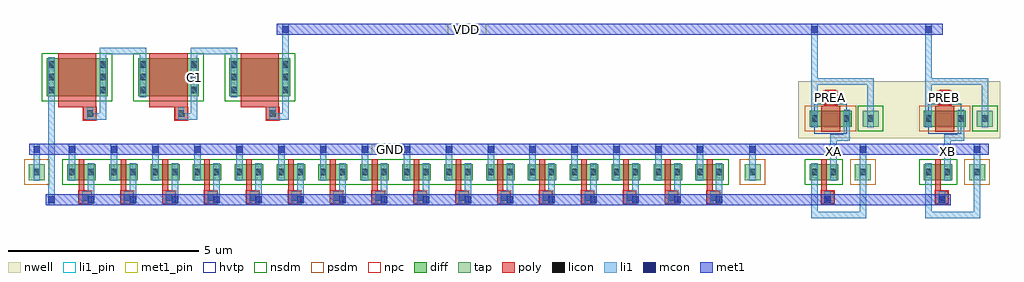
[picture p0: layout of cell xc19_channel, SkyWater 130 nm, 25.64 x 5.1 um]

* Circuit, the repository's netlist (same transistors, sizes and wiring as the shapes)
* NGSPICE file created from xc19_channel.ext - technology: sky130A

.subckt xc19_channel VDD GND C1 PREA XA PREB XB
X0 XB PREB VDD VDD sky130_fd_pr__pfet_01v8_hvt ad=0.126 pd=1.44 as=0.126 ps=1.44 w=0.42 l=0.5
X1 a_n108_440# a_n108_440# GND GND sky130_fd_pr__nfet_01v8 ad=0.126 pd=1.44 as=0.126 ps=1.44 w=0.42 l=0.15
X2 XA PREA VDD VDD sky130_fd_pr__pfet_01v8_hvt ad=0.126 pd=1.44 as=0.126 ps=1.44 w=0.42 l=0.5
X3 a_n108_440# a_n108_440# GND GND sky130_fd_pr__nfet_01v8 ad=0.126 pd=1.44 as=0.126 ps=1.44 w=0.42 l=0.15
X4 a_n108_440# a_n108_440# GND GND sky130_fd_pr__nfet_01v8 ad=0.126 pd=1.44 as=0.126 ps=1.44 w=0.42 l=0.15
X5 a_n108_440# a_n108_440# GND GND sky130_fd_pr__nfet_01v8 ad=0.126 pd=1.44 as=0.126 ps=1.44 w=0.42 l=0.15
X6 a_n108_440# a_n108_440# GND GND sky130_fd_pr__nfet_01v8 ad=0.126 pd=1.44 as=0.126 ps=1.44 w=0.42 l=0.15
X7 a_n108_440# a_n108_440# GND GND sky130_fd_pr__nfet_01v8 ad=0.126 pd=1.44 as=0.126 ps=1.44 w=0.42 l=0.15
X8 a_n108_440# a_n108_440# GND GND sky130_fd_pr__nfet_01v8 ad=0.126 pd=1.44 as=0.126 ps=1.44 w=0.42 l=0.15
X9 XA a_n108_440# GND GND sky130_fd_pr__nfet_01v8 ad=0.126 pd=1.44 as=0.126 ps=1.44 w=0.42 l=0.15
X10 XB a_n108_440# GND GND sky130_fd_pr__nfet_01v8 ad=0.126 pd=1.44 as=0.126 ps=1.44 w=0.42 l=0.15
X11 a_n108_440# a_n108_440# GND GND sky130_fd_pr__nfet_01v8 ad=0.126 pd=1.44 as=0.126 ps=1.44 w=0.42 l=0.15
X12 a_n108_440# a_n108_440# GND GND sky130_fd_pr__nfet_01v8 ad=0.126 pd=1.44 as=0.126 ps=1.44 w=0.42 l=0.15
X13 a_n108_440# a_n108_440# GND GND sky130_fd_pr__nfet_01v8 ad=0.126 pd=1.44 as=0.126 ps=1.44 w=0.42 l=0.15
X14 a_n108_440# a_n108_440# GND GND sky130_fd_pr__nfet_01v8 ad=0.126 pd=1.44 as=0.126 ps=1.44 w=0.42 l=0.15
X15 a_n48_382# a_n48_382# a_n108_440# GND sky130_fd_pr__nfet_01v8 ad=0.3 pd=2.6 as=0.3 ps=2.6 w=1 l=1
X16 a_n108_440# a_n108_440# GND GND sky130_fd_pr__nfet_01v8 ad=0.126 pd=1.44 as=0.126 ps=1.44 w=0.42 l=0.15
X17 a_n108_440# a_n108_440# GND GND sky130_fd_pr__nfet_01v8 ad=0.126 pd=1.44 as=0.126 ps=1.44 w=0.42 l=0.15
X18 a_n108_440# a_n108_440# GND GND sky130_fd_pr__nfet_01v8 ad=0.126 pd=1.44 as=0.126 ps=1.44 w=0.42 l=0.15
X19 C1 C1 a_n48_382# GND sky130_fd_pr__nfet_01v8 ad=0.3 pd=2.6 as=0.3 ps=2.6 w=1 l=1
X20 a_n108_440# a_n108_440# GND GND sky130_fd_pr__nfet_01v8 ad=0.126 pd=1.44 as=0.126 ps=1.44 w=0.42 l=0.15
X21 VDD VDD C1 GND sky130_fd_pr__nfet_01v8 ad=0.3 pd=2.6 as=0.3 ps=2.6 w=1 l=1
X22 a_n108_440# a_n108_440# GND GND sky130_fd_pr__nfet_01v8 ad=0.126 pd=1.44 as=0.126 ps=1.44 w=0.42 l=0.15
.ends

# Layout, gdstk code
import gdstk
lib = gdstk.Library(unit=1e-6, precision=1e-09)
def R(c, l, rs):  # rectangles x0, y0, x1, y1
    for r in rs: c.add(gdstk.rectangle(r[:2], r[2:], *l))
def A(c, l, x, y, w, h, nx, ny, dx, dy):  # array of equal rectangles
    R(c, l, [(x+i*dx, y+j*dy, x+i*dx+w, y+j*dy+h) for i in range(nx) for j in range(ny)])
nwell = (64, 20)
diff = (65, 20)
tap = (65, 44)
poly = (66, 20)
licon = (66, 44)
li1_pin = (67, 16)
li1 = (67, 20)
mcon = (67, 44)
met1_pin = (68, 16)
met1 = (68, 20)
hvtp = (78, 44)
nsdm = (93, 44)
psdm = (94, 20)
npc = (95, 20)

xc19_channel = lib.new_cell('xc19_channel')
R(xc19_channel, nwell, [(19.2,1.1,24.5,2.6)])
A(xc19_channel, diff, 0, 0, 0.75, 0.42, 16, 1, 1.1, 0)
A(xc19_channel, diff, -0.54, 2.2, 1.6, 1, 3, 1, 2.4, 0)
R(xc19_channel, diff, [(19.5,0,20.25,0.42), (22.5,0,23.25,0.42), (19.5,1.4,20.6,1.82), (22.5,1.4,23.6,1.82)])
R(xc19_channel, tap, [(-1.01,0,-0.59,0.42), (17.79,0,18.21,0.42), (20.69,0,21.11,0.42), (23.69,0,24.11,0.42), (20.89,1.4,21.31,1.82), (23.89,1.4,24.31,1.82)])
A(xc19_channel, poly, 0.3, -0.62, 0.34, 0.33, 16, 1, 1.1, 0)
A(xc19_channel, poly, 0.3, -0.29, 0.15, 0.84, 16, 1, 1.1, 0)
A(xc19_channel, poly, 0.42, 1.58, 0.34, 0.33, 3, 1, 2.4, 0)
A(xc19_channel, poly, -0.24, 1.91, 1, 1.42, 3, 1, 2.4, 0)
R(xc19_channel, poly, [(19.8,-0.62,20.14,-0.29), (22.8,-0.62,23.14,-0.29), (19.8,-0.29,19.95,0.55), (22.8,-0.29,22.95,0.55), (19.8,1.27,20.3,1.95), (22.8,1.27,23.3,1.95), (19.915,1.95,20.185,2.37), (22.915,1.95,23.185,2.37)])
A(xc19_channel, licon, 0.39, -0.54, 0.17, 0.17, 16, 1, 1.1, 0)
A(xc19_channel, licon, 0.51, 1.66, 0.17, 0.17, 3, 1, 2.4, 0)
A(xc19_channel, licon, -0.5, 2.275, 0.17, 0.17, 1, 3, 0, 0.34)
A(xc19_channel, licon, 0.85, 2.275, 0.17, 0.17, 1, 3, 0, 0.34)
A(xc19_channel, licon, 1.9, 2.275, 0.17, 0.17, 1, 3, 0, 0.34)
A(xc19_channel, licon, 3.25, 2.275, 0.17, 0.17, 1, 3, 0, 0.34)
A(xc19_channel, licon, 4.3, 2.275, 0.17, 0.17, 1, 3, 0, 0.34)
A(xc19_channel, licon, 5.65, 2.275, 0.17, 0.17, 1, 3, 0, 0.34)
R(xc19_channel, licon, [(19.89,-0.54,20.06,-0.37), (22.89,-0.54,23.06,-0.37), (-0.885,0.125,-0.715,0.295), (0.04,0.125,0.21,0.295), (0.54,0.125,0.71,0.295), (1.14,0.125,1.31,0.295), (1.64,0.125,1.81,0.295), (2.24,0.125,2.41,0.295), (2.74,0.125,2.91,0.295), (3.34,0.125,3.51,0.295), (3.84,0.125,4.01,0.295), (4.44,0.125,4.61,0.295), (4.94,0.125,5.11,0.295), (5.54,0.125,5.71,0.295), (6.04,0.125,6.21,0.295), (6.64,0.125,6.81,0.295), (7.14,0.125,7.31,0.295), (7.74,0.125,7.91,0.295), (8.24,0.125,8.41,0.295), (8.84,0.125,9.01,0.295), (9.34,0.125,9.51,0.295), (9.94,0.125,10.11,0.295), (10.44,0.125,10.61,0.295), (11.04,0.125,11.21,0.295), (11.54,0.125,11.71,0.295), (12.14,0.125,12.31,0.295), (12.64,0.125,12.81,0.295), (13.24,0.125,13.41,0.295), (13.74,0.125,13.91,0.295), (14.34,0.125,14.51,0.295), (14.84,0.125,15.01,0.295), (15.44,0.125,15.61,0.295), (15.94,0.125,16.11,0.295), (16.54,0.125,16.71,0.295), (17.04,0.125,17.21,0.295), (17.915,0.125,18.085,0.295), (19.54,0.125,19.71,0.295), (20.04,0.125,20.21,0.295), (20.815,0.125,20.985,0.295), (22.54,0.125,22.71,0.295), (23.04,0.125,23.21,0.295), (23.815,0.125,23.985,0.295), (19.54,1.525,19.71,1.695), (20.39,1.525,20.56,1.695), (21.015,1.525,21.185,1.695), (22.54,1.525,22.71,1.695), (23.39,1.525,23.56,1.695), (24.015,1.525,24.185,1.695), (19.965,2.07,20.135,2.24), (22.965,2.07,23.135,2.24)])
R(xc19_channel, li1_pin, [(20.04,0.6,20.21,0.9), (23.04,0.6,23.21,0.9), (19.965,1.99,20.135,2.32), (22.965,1.99,23.135,2.32), (3.25,2.4,3.42,3)])
A(xc19_channel, li1, 0.39, -0.62, 0.32, 0.33, 16, 1, 1.1, 0)
A(xc19_channel, li1, 0.54, -0.29, 0.17, 0.73, 16, 1, 1.1, 0)
A(xc19_channel, li1, 0.04, -0.02, 0.17, 0.97, 16, 1, 1.1, 0)
A(xc19_channel, li1, 0.51, 1.58, 0.51, 0.17, 3, 1, 2.4, 0)
A(xc19_channel, li1, 0.51, 1.75, 0.17, 0.16, 3, 1, 2.4, 0)
R(xc19_channel, li1, [(19.54,-1,20.985,-0.83), (22.54,-1,23.985,-0.83), (19.54,-0.83,19.71,0.44), (20.815,-0.83,20.985,0.95), (22.54,-0.83,22.71,0.44), (23.815,-0.83,23.985,0.95), (-0.5,-0.62,-0.33,3.22), (19.89,-0.62,20.06,-0.29), (22.89,-0.62,23.06,-0.29), (-0.885,-0.02,-0.715,0.95), (17.915,-0.02,18.085,0.95), (20.04,-0.02,20.21,1.03), (23.04,-0.02,23.21,1.03), (20.04,1.03,20.56,1.2), (23.04,1.03,23.56,1.2), (20.39,1.2,20.56,1.84), (23.39,1.2,23.56,1.84), (19.54,1.38,19.71,2.5), (21.015,1.38,21.185,2.5), (22.54,1.38,22.71,2.5), (24.015,1.38,24.185,2.5), (0.85,1.75,1.02,3.3), (3.25,1.75,3.42,3.3), (5.65,1.75,5.82,4.1), (19.965,1.99,20.135,2.32), (22.965,1.99,23.135,2.32), (1.9,2.18,2.07,3.3), (4.3,2.18,4.47,3.3), (19.54,2.5,21.185,2.67), (22.54,2.5,24.185,2.67), (19.54,2.67,19.71,4.1), (22.54,2.67,22.71,4.1), (0.85,3.3,2.07,3.47), (3.25,3.3,4.47,3.47)])
A(xc19_channel, mcon, 0.54, -0.6, 0.17, 0.17, 16, 1, 1.1, 0)
A(xc19_channel, mcon, 0.04, 0.72, 0.17, 0.17, 16, 1, 1.1, 0)
R(xc19_channel, mcon, [(-0.5,-0.6,-0.33,-0.43), (19.89,-0.6,20.06,-0.43), (22.89,-0.6,23.06,-0.43), (-0.885,0.72,-0.715,0.89), (17.915,0.72,18.085,0.89), (20.815,0.72,20.985,0.89), (23.815,0.72,23.985,0.89), (5.65,3.87,5.82,4.04), (19.54,3.87,19.71,4.04), (22.54,3.87,22.71,4.04)])
R(xc19_channel, met1_pin, [(8,0.66,9,0.95), (10,3.81,11,4.1)])
R(xc19_channel, met1, [(-0.56,-0.66,23.2,-0.37), (-1,0.66,24.2,0.95), (5.5,3.81,23,4.1)])
R(xc19_channel, hvtp, [(19.62,1.22,20.48,2), (22.62,1.22,23.48,2)])
A(xc19_channel, nsdm, -0.665, 2.075, 1.85, 1.25, 3, 1, 2.4, 0)
R(xc19_channel, nsdm, [(-0.125,-0.125,17.375,0.545), (19.375,-0.125,20.375,0.545), (22.375,-0.125,23.375,0.545), (20.765,1.275,21.435,1.945), (23.765,1.275,24.435,1.945)])
R(xc19_channel, psdm, [(-1.135,-0.125,-0.465,0.545), (17.665,-0.125,18.335,0.545), (20.565,-0.125,21.235,0.545), (23.565,-0.125,24.235,0.545), (19.375,1.275,20.725,1.945), (22.375,1.275,23.725,1.945)])
A(xc19_channel, npc, 0.29, -0.64, 0.37, 0.37, 16, 1, 1.1, 0)
A(xc19_channel, npc, 0.41, 1.56, 0.37, 0.37, 3, 1, 2.4, 0)
R(xc19_channel, npc, [(19.79,-0.64,20.16,-0.27), (22.79,-0.64,23.16,-0.27), (19.865,1.97,20.235,2.34), (22.865,1.97,23.235,2.34)])
xc19_channel.add(gdstk.Label('VDD', (10.5,3.955), layer=68, texttype=5))
xc19_channel.add(gdstk.Label('GND', (8.5,0.805), layer=68, texttype=5))
xc19_channel.add(gdstk.Label('C1', (3.335,2.7), layer=67, texttype=5))
xc19_channel.add(gdstk.Label('PREA', (20.05,2.155), layer=67, texttype=5))
xc19_channel.add(gdstk.Label('XA', (20.125,0.75), layer=67, texttype=5))
xc19_channel.add(gdstk.Label('PREB', (23.05,2.155), layer=67, texttype=5))
xc19_channel.add(gdstk.Label('XB', (23.125,0.75), layer=67, texttype=5))

lib.write_gds('xc19_channel.gds')
